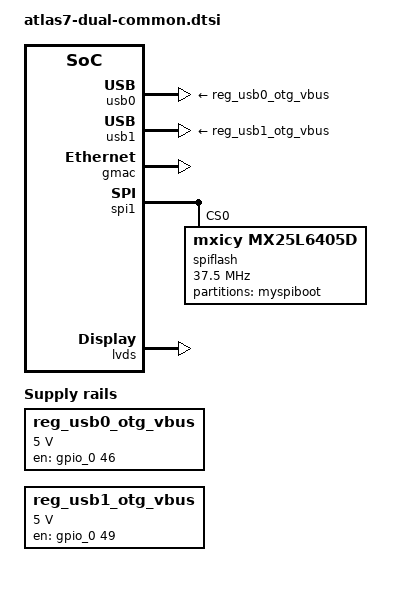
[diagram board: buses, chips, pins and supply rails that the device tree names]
/*
 * common components for atlas7 non-entry EVB
 *
 * Copyright (c) 2015-2016, The Linux Foundation. All rights reserved.
 *
 * This program is free software; you can redistribute it and/or modify
 * it under the terms of the GNU General Public License version 2 and
 * only version 2 as published by the Free Software Foundation.
 *
 * This program is distributed in the hope that it will be useful,
 * but WITHOUT ANY WARRANTY; without even the implied warranty of
 * MERCHANTABILITY or FITNESS FOR A PARTICULAR PURPOSE.  See the
 * GNU General Public License for more details.
 */

/ {
	aliases {
		display0 = &lvds;
	};

	regulators {
		reg_usb0_otg_vbus: regulator@0 {
			compatible = "regulator-fixed";
			reg = <0>;
			regulator-name = "usb0_otg_vbus";
			regulator-min-microvolt = <5000000>;
			regulator-max-microvolt = <5000000>;
			enable-active-high;
			gpio = <&gpio_0 46 0>;
		};

		reg_usb1_otg_vbus: regulator@1 {
			compatible = "regulator-fixed";
			reg = <0>;
			regulator-name = "usb1_otg_vbus";
			regulator-min-microvolt = <5000000>;
			regulator-max-microvolt = <5000000>;
			enable-active-high;
			gpio = <&gpio_0 49 0>;
		};
	};

	noc {
		mediam {
			usb0: usb@17060000 {
				vbus-supply = <&reg_usb0_otg_vbus>;
				status = "okay";
			};

			usbphy0: usbphy@0 {
				status = "okay";
			};

			usb1: usb@17070000 {
				vbus-supply = <&reg_usb1_otg_vbus>;
				status = "okay";
			};

			usbphy1: usbphy@1 {
				status = "okay";
			};
		};

		gnssm {
			gmac: eth@180b0000 {
				status = "okay";
				pinctrl-names = "default";
				pinctrl-0 = <&rg_eth_mac_pmx
					&rg_gmac_phy_intr_n_pmx
					&rg_rgmii_mac_pmx>;
			};

			spi1: spi@18200000 {
				status = "okay";
				compatible = "sirf,prima2-spi-slave";
				pinctrl-0 = <&sp1_spi_pmx>;
				pinctrl-names = "default";
				spiflash: mxicy@0{
					compatible = "mxicy,mx25l6405d";
					reg = <0>;
					spi-max-frequency = <37500000>;
					spi-cpha;
					spi-cpol;
					#address-cells = <1>;
					#size-cells = <1>;
					partitions@0 {
						label = "myspiboot";
						reg = <0x0 0x800000>;
					};
				};
			};
		};

		rtcm {
			rtc-iobg@18840000 {
				pwrc@3000 {
					atlas7-gps {
					   status = "okay";
					   pinctrl-names = "default";
					   pinctrl-0 = <&gn_trg_spi_pmx0
						&gn_trg_pmx0>;
					   gps-supply = <&gnss_supply>;
					};
				};
			};
		};

		lvds: display@1 {
			compatible = "lvds-panel";
			source = "lvds.0";
			status = "okay";

			data-lines  = <24>;

			display-timings {
				native-mode = <&timing1>;
				timing1: timing1 {
					clock-frequency = <50000000>;
					hactive = <1024>;
					vactive = <600>;
					hfront-porch = <220>;
					hback-porch = <100>;
					hsync-len = <1>;
					vback-porch = <10>;
					vfront-porch = <25>;
					vsync-len = <1>;
					hsync-active = <0>;
					vsync-active = <0>;
					de-active = <1>;
					pixelclk-active = <1>;
				};
			};
		};

		hdmi: display@2 {
			compatible = "hdmi-panel";
			source = "rgb.0";
			/*status = "okay";*/
			status = "disabled";
			pinctrl-names = "default";
			pinctrl-0 = <&ld_ldd_16bit_pmx &ld_ldd_fck_pmx
				&ld_ldd_lck_pmx>;

			data-lines  = <16>;

			display-timings {
				native-mode = <&timing2>;
				timing2: timing2 {
					clock-frequency = <74250000>;
					hactive = <1280>;
					vactive = <720>;
					hfront-porch = <110>;
					hback-porch = <220>;
					hsync-len = <40>;
					vback-porch = <19>;
					vfront-porch = <5>;
					vsync-len = <6>;
					hsync-active = <0>;
					vsync-active = <0>;
					de-active = <1>;
					pixelclk-active = <1>;
				};
			};
		};
	};
};
